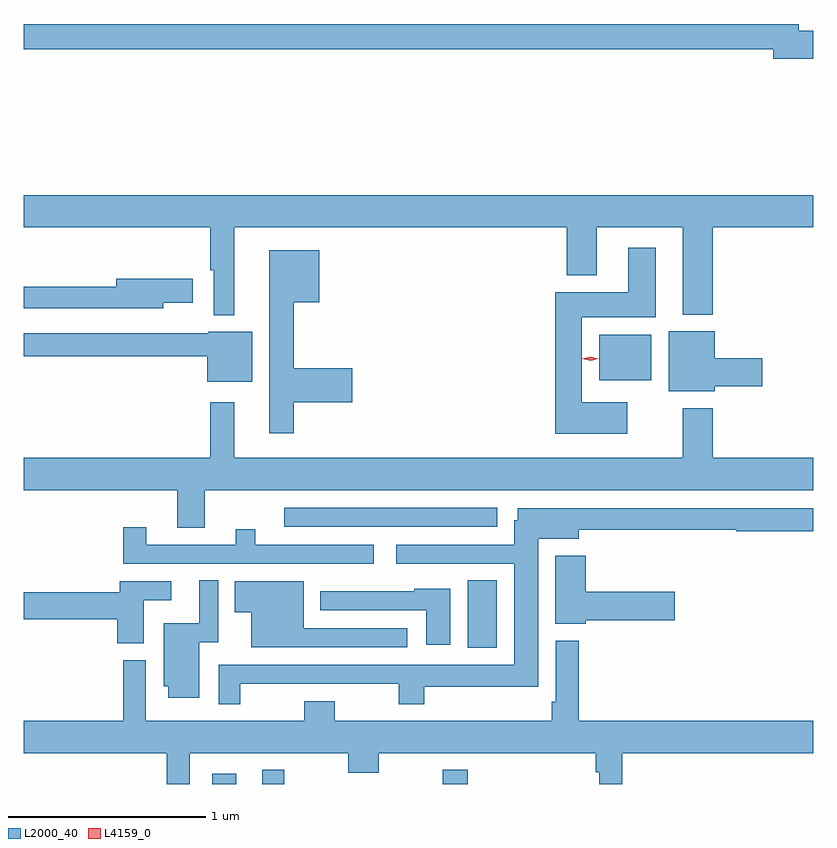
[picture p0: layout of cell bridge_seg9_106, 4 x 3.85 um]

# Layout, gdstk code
import gdstk
lib = gdstk.Library(unit=1e-6, precision=1e-09)
def R(c, l, rs):  # rectangles x0, y0, x1, y1
    for r in rs: c.add(gdstk.rectangle(r[:2], r[2:], *l))
def P(c, l, *ps):  # polygons
    for p in ps: c.add(gdstk.Polygon(p, *l))
L2000_40 = (2000, 40)
L4159_0 = (4159, 0)

bridge_seg9_106 = lib.new_cell('bridge_seg9_106')
R(bridge_seg9_106, L2000_40, [(770.114,1169.624,770.236,1169.677), (770.369,1169.624,770.479,1169.695), (771.282,1169.624,771.41,1169.695), (771.41,1170.315,771.556,1170.656), (770.481,1170.927,771.559,1171.023), (772.076,1171.67,772.339,1171.9)])
P(bridge_seg9_106, L2000_40, [(773.16,1173.441),(773.086,1173.441),(773.086,1173.475),(769.16,1173.475),(769.16,1173.346),(772.958,1173.346),(772.958,1173.299),(773.16,1173.299)],
  [(770.227,1172.444),(771.911,1172.444),(771.911,1172.201),(772.063,1172.201),(772.063,1172.444),(772.499,1172.444),(772.499,1172.003),(772.652,1172.003),(772.652,1172.444),(773.16,1172.444),(773.16,1172.608),(769.16,1172.608),(769.16,1172.444),(770.106,1172.444),(770.106,1172.228),(770.123,1172.228),(770.123,1172),(770.227,1172)],
  [(772.219,1171.558),(771.988,1171.558),(771.988,1171.988),(772.363,1171.988),(772.363,1172.341),(772.223,1172.341),(772.223,1172.116),(771.854,1172.116),(771.854,1171.4),(772.219,1171.4)],
  [(770.527,1171.559),(770.824,1171.559),(770.824,1171.73),(770.527,1171.73),(770.527,1172.066),(770.656,1172.066),(770.656,1172.329),(770.405,1172.329),(770.405,1171.401),(770.527,1171.401)],
  [(769.867,1172.063),(770.017,1172.063),(770.017,1172.185),(769.628,1172.185),(769.628,1172.143),(769.16,1172.143),(769.16,1172.034),(769.867,1172.034)],
  [(772.66,1171.639),(772.903,1171.639),(772.903,1171.781),(772.66,1171.781),(772.66,1171.918),(772.427,1171.918),(772.427,1171.613),(772.66,1171.613)],
  [(770.317,1171.915),(770.094,1171.915),(770.094,1171.908),(769.16,1171.908),(769.16,1171.792),(770.09,1171.792),(770.09,1171.661),(770.317,1171.661)],
  [(770.077,1171.112),(773.16,1171.112),(773.16,1171.276),(772.652,1171.276),(772.652,1171.528),(772.499,1171.528),(772.499,1171.276),(770.227,1171.276),(770.227,1171.558),(770.106,1171.558),(770.106,1171.276),(769.16,1171.276),(769.16,1171.112),(769.937,1171.112),(769.937,1170.922),(770.077,1170.922)],
  [(770.257,1170.131),(770.492,1170.131),(770.492,1170.132),(770.824,1170.132),(770.824,1170.131),(771.06,1170.131),(771.06,1170.029),(771.188,1170.029),(771.188,1170.116),(771.766,1170.116),(771.766,1170.866),(771.973,1170.866),(771.973,1170.912),(772.769,1170.912),(772.769,1170.904),(773.16,1170.904),(773.16,1171.02),(771.869,1171.02),(771.869,1171.021),(771.662,1171.021),(771.662,1170.96),(771.644,1170.96),(771.644,1170.837),(771.048,1170.837),(771.048,1170.741),(771.644,1170.741),(771.644,1170.229),(771.204,1170.229),(771.204,1170.228),(770.148,1170.228),(770.148,1170.029),(770.257,1170.029)],
  [(770.932,1170.837),(770.332,1170.837),(770.332,1170.916),(770.234,1170.916),(770.234,1170.837),(769.78,1170.837),(769.78,1170.925),(769.663,1170.925),(769.663,1170.741),(770.674,1170.741),(770.674,1170.74),(770.932,1170.74)],
  [(772.007,1170.455),(772.459,1170.455),(772.459,1170.597),(772.007,1170.597),(772.007,1170.781),(771.854,1170.781),(771.854,1170.437),(772.007,1170.437)],
  [(770.05,1170.342),(770.145,1170.342),(770.145,1170.656),(770.048,1170.656),(770.048,1170.438),(769.868,1170.438),(769.868,1170.12),(769.892,1170.12),(769.892,1170.06),(770.05,1170.06)],
  [(771.103,1170.414),(770.578,1170.414),(770.578,1170.652),(770.23,1170.652),(770.23,1170.494),(770.312,1170.494),(770.312,1170.318),(771.103,1170.318)],
  [(769.768,1170.555),(769.906,1170.555),(769.906,1170.651),(769.646,1170.651),(769.646,1170.596),(769.16,1170.596),(769.16,1170.46),(769.634,1170.46),(769.634,1170.337),(769.768,1170.337)],
  [(771.322,1170.613),(771.138,1170.613),(771.138,1170.601),(770.663,1170.601),(770.663,1170.504),(771.2,1170.504),(771.2,1170.33),(771.322,1170.33)],
  [(770.001,1169.78),(770.803,1169.78),(770.803,1169.681),(770.958,1169.681),(770.958,1169.78),(772.057,1169.78),(772.057,1169.684),(772.077,1169.684),(772.077,1169.624),(772.193,1169.624),(772.193,1169.78),(773.16,1169.78),(773.16,1169.944),(771.971,1169.944),(771.971,1170.349),(771.855,1170.349),(771.855,1170.04),(771.835,1170.04),(771.835,1169.944),(770.736,1169.944),(770.736,1170.043),(770.581,1170.043),(770.581,1169.944),(769.779,1169.944),(769.779,1170.252),(769.663,1170.252),(769.663,1169.944),(769.16,1169.944),(769.16,1169.78),(769.885,1169.78),(769.885,1169.624),(770.001,1169.624)])
P(bridge_seg9_106, L4159_0, [(772.032,1171.769),(771.991,1171.778),(771.991,1171.778),(771.991,1171.779),(772.032,1171.789),(772.072,1171.779),(772.072,1171.779),(772.072,1171.779)])

lib.write_gds('bridge_seg9_106.gds')
